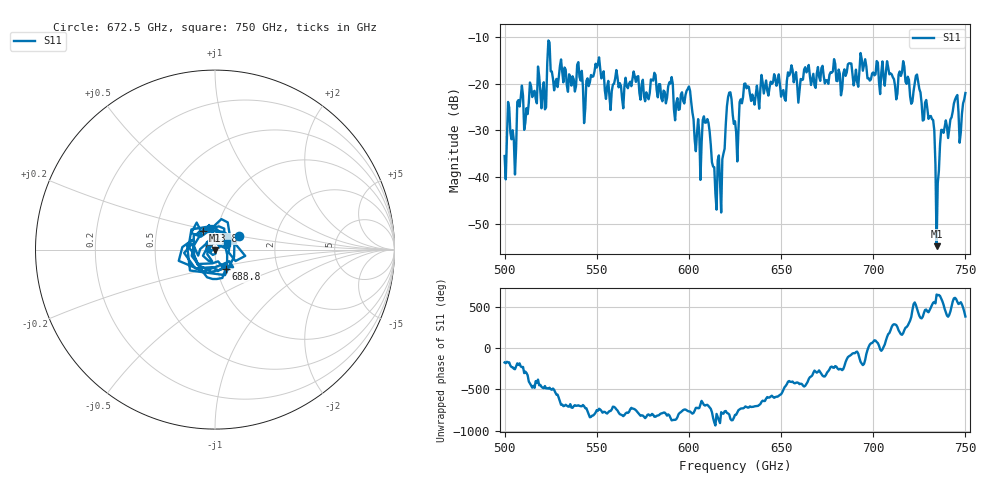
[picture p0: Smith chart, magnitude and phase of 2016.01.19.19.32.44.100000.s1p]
!Created with skrf (http://scikit-rf.org).
# GHz S RI R 50.0
!freq ReS11 ImS11
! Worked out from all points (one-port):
!   401 points, 500 GHz to 750 GHz, reference 50 ohm
!   lowest |S11| = -54.7 dB at 734.4 GHz (marker M1), VSWR 1.00, Z = 50.1 - j0.166 ohm
!   |S11| at or under -10 dB: start of sweep to end of sweep
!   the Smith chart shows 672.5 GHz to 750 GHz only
!   S11 on the Smith chart (normalised r, x): 672.5 GHz: 1.30, +0.19; 688.8 GHz: 1.10, -0.24; 723.8 GHz: 0.85, +0.18; 750 GHz: 1.15, +0.09
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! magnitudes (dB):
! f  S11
! 500 GHz  -35.5
! 503.1 GHz  -30.5
! 505 GHz  -32.1
! 508.1 GHz  -24.9
! 511.9 GHz  -25.2
! 521.2 GHz  -19.7
! 524.4 GHz  -11.3
! 531.2 GHz  -17.5
! 562.5 GHz  -19.9
! 590 GHz  -20.0
! 593.8 GHz  -23.1
! 600 GHz  -20.6
! 605 GHz  -27.6
! 609.4 GHz  -28.3
! 616.2 GHz  -35.3
! 621.9 GHz  -21.9
! 625 GHz  -28.0
! 631.2 GHz  -21.0
! 656.2 GHz  -17.1
! 672.5 GHz  -16.2
! 687.5 GHz  -15.7
! 688.8 GHz  -18.1
! 718.8 GHz  -18.5
! 723.8 GHz  -18.1
! 731.9 GHz  -27.6
! 734.4 GHz  -54.7
! 738.1 GHz  -30.5
! 750 GHz  -22.0
